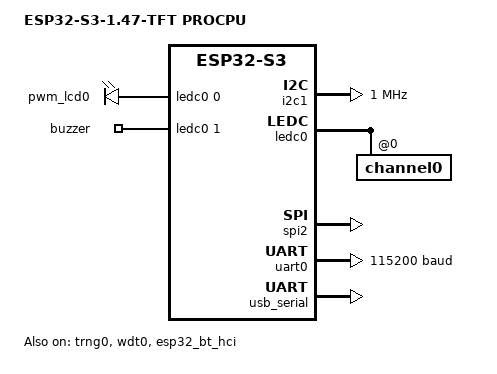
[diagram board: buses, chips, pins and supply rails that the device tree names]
/*
* Copyright (c) 2024 Joel Guittet
* SPDX-License-Identifier: Apache-2.0
*/

/dts-v1/;
#include <espressif/esp32s3/esp32s3_common.dtsi>
#include "esp32s3_1_69_tft_touch-pinctrl.dtsi"
#include "esp32s3_1_69_tft_touch_esp32s3_display.dtsi"
#include <espressif/partitions_0x0_amp_16M.dtsi>
#include <zephyr/dt-bindings/pwm/pwm.h>

/* 16MB flash */
&flash0 {
    reg = <0x0 DT_SIZE_M(16)>;
};

/* 8MB psram */
&psram0 {
    size = <DT_SIZE_M(8)>;
};

/ {
    model = "ESP32-S3-1.47-TFT PROCPU";
    compatible = "waveshare,esp32-s3-1.47-tft";
    
    chosen {
        zephyr,sram = &sram1;
        zephyr,console = &usb_serial;
        zephyr,shell-uart = &usb_serial;
        zephyr,flash = &flash0;
        zephyr,code-partition = &slot0_partition;
        zephyr,bt-hci = &esp32_bt_hci;
    };
    
    aliases {
        i2c-0 = &i2c0;
        i2c-1 = &i2c1;
        pwm-0 = &ledc0;
        pwm-lcd0 = &pwm_lcd0;
        buzzer = &buzzer;
        uart-0 = &uart0;
        watchdog0 = &wdt0;
    };
    
    /* PWM */
    pwmleds {
        compatible = "pwm-leds";
        pwm_lcd0: pwm_lcd0 {
            pwms = <&ledc0 0 PWM_HZ(10000) PWM_POLARITY_NORMAL>;
        };
        buzzer: buzzer {
            pwms = <&ledc0 1 PWM_HZ(1000) PWM_POLARITY_INVERTED>;
        };
    };
};

&gpio0 {
    status = "okay";
};

&gpio1 {
    status = "okay";
};

&i2c0 {
    status = "disabled";
};

&i2c1 {
    status = "okay";
    clock-frequency = <I2C_BITRATE_FAST_PLUS>;
    pinctrl-0 = <&i2c1_default>;
    pinctrl-names = "default";
    
    // qmi8658c: qmi8658c@6a {
    // 	compatible = "qorvo,qmi8658c";
    // 	reg = <0x6a>;
    // 	status = "okay";
    // 	interrupt-parent = <&gpio0>;
    // 	interrupts = <12 IRQ_TYPE_EDGE_FALLING>; // GPIO0 12
    // 	pinctrl-names = "default";
    // 	pinctrl-0 = <&qmi8658c_default>;
    // };
};

&ledc0 {
    status = "okay";
    pinctrl-0 = <&ledc0_default>;
    pinctrl-names = "default";
    #address-cells = <1>;
    #size-cells = <0>;
    
    channel0@0 {
        reg = <0x0>;
        timer = <0>;
    };
};

&spi2 {
    status = "okay";
    #address-cells = <1>;
    #size-cells = <0>;
    pinctrl-0 = <&spim2_default>;
    dma-enabled;
    use-iomux;
    pinctrl-names = "default";
};

&trng0 {
    status = "okay";
};

&uart0 {
    status = "okay";
    current-speed = <115200>;
    pinctrl-0 = <&uart0_default>;
    pinctrl-names = "default";
};

&wdt0 {
    status = "okay";
};

&esp32_bt_hci {
    status = "okay";
};

&usb_serial {
    status = "okay";
};

// &wifi {
//     status = "okay";
// };
